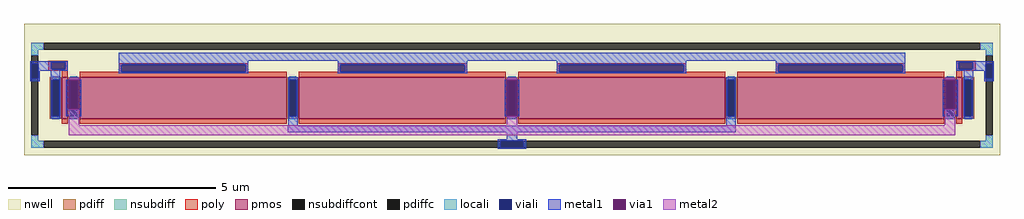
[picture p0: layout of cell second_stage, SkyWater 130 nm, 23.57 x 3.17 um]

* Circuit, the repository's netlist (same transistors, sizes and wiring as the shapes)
* NGSPICE file created from second_stage.ext - technology: sky130A

.subckt sky130_fd_pr__pfet_01v8_9QGYG3 a_2087_n100# a_n29_n100# a_n1087_n100# w_n2181_n162#
+ a_n2145_n100# a_29_n126# a_n1029_n126# a_1029_n100# a_n2087_n126# a_1087_n126#
X0 a_2087_n100# a_1087_n126# a_1029_n100# w_n2181_n162# sky130_fd_pr__pfet_01v8 ad=0.29 pd=2.58 as=0.145 ps=1.29 w=1 l=5
X1 a_1029_n100# a_29_n126# a_n29_n100# w_n2181_n162# sky130_fd_pr__pfet_01v8 ad=0.145 pd=1.29 as=0.145 ps=1.29 w=1 l=5
X2 a_n1087_n100# a_n2087_n126# a_n2145_n100# w_n2181_n162# sky130_fd_pr__pfet_01v8 ad=0.145 pd=1.29 as=0.29 ps=2.58 w=1 l=5
X3 a_n29_n100# a_n1029_n126# a_n1087_n100# w_n2181_n162# sky130_fd_pr__pfet_01v8 ad=0.145 pd=1.29 as=0.145 ps=1.29 w=1 l=5
.ends

.subckt sky130_fd_pr__pfet_01v8_2XU96L a_n73_n100# w_n109_n162# a_15_n100# a_n15_n126#
X0 a_15_n100# a_n15_n126# a_n73_n100# w_n109_n162# sky130_fd_pr__pfet_01v8 ad=0.29 pd=2.58 as=0.29 ps=2.58 w=1 l=0.15
.ends

.subckt second_stage
Xsky130_fd_pr__pfet_01v8_9QGYG3_0 m1_885_203# m1_885_203# w_680_15# w_680_15# m1_885_203#
+ a_3249_408# a_2191_408# w_680_15# a_1137_417# a_4307_408# sky130_fd_pr__pfet_01v8_9QGYG3
Xsky130_fd_pr__pfet_01v8_2XU96L_1 w_680_15# w_680_15# m1_885_203# a_798_422# sky130_fd_pr__pfet_01v8_2XU96L
Xsky130_fd_pr__pfet_01v8_2XU96L_0 m1_885_203# w_680_15# w_680_15# a_5182_391# sky130_fd_pr__pfet_01v8_2XU96L
.ends

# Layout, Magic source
magic
tech sky130A
magscale 1 2
<< nwell >>
rect 680 15 5394 648
<< nsubdiff >>
rect 716 523 776 557
rect 5298 523 5358 557
rect 716 497 750 523
rect 5324 497 5358 523
rect 716 85 750 111
rect 5324 85 5358 111
rect 716 51 776 85
rect 5298 51 5358 85
<< nsubdiffcont >>
rect 776 523 5298 557
rect 716 111 750 497
rect 5324 111 5358 497
rect 776 51 5298 85
<< poly >>
rect 798 422 892 470
rect 862 411 892 422
rect 1137 417 1763 458
rect 2195 417 2821 458
rect 3253 417 3879 458
rect 4311 417 4937 458
rect 5182 422 5276 470
rect 2191 408 2829 417
rect 3249 408 3887 417
rect 4307 408 4945 417
rect 5182 391 5212 422
<< locali >>
rect 716 523 776 557
rect 5298 523 5358 557
rect 716 497 750 523
rect 5324 497 5358 523
rect 5224 391 5258 395
rect 716 85 750 111
rect 5324 85 5358 111
rect 716 51 776 85
rect 5298 51 5358 85
<< viali >>
rect 716 383 750 457
rect 811 429 879 463
rect 1150 417 1750 451
rect 2208 417 2808 451
rect 3266 417 3866 451
rect 4324 417 4924 451
rect 5195 429 5263 463
rect 5324 383 5358 457
rect 2981 51 3093 85
<< metal1 >>
rect 1138 470 4936 510
rect 710 463 891 469
rect 710 457 811 463
rect 710 383 716 457
rect 750 429 811 457
rect 879 429 891 463
rect 750 423 891 429
rect 1138 451 1762 470
rect 750 383 756 423
rect 810 391 856 423
rect 1138 417 1150 451
rect 1750 417 1762 451
rect 1138 411 1762 417
rect 2196 451 2820 470
rect 2196 417 2208 451
rect 2808 417 2820 451
rect 2196 411 2820 417
rect 3254 451 3878 470
rect 3254 417 3266 451
rect 3866 417 3878 451
rect 3254 411 3878 417
rect 4312 451 4936 470
rect 4312 417 4324 451
rect 4924 417 4936 451
rect 5183 463 5364 469
rect 5183 429 5195 463
rect 5263 457 5364 463
rect 5263 429 5324 457
rect 5183 423 5324 429
rect 4312 411 4936 417
rect 5218 391 5264 423
rect 710 371 756 383
rect 5318 383 5324 423
rect 5358 383 5364 457
rect 885 237 895 379
rect 947 237 957 379
rect 885 203 957 237
rect 3001 203 3011 379
rect 3063 203 3073 379
rect 5117 237 5127 379
rect 5179 237 5189 379
rect 5318 371 5364 383
rect 5117 203 5189 237
rect 1956 157 2002 195
rect 4072 157 4118 191
rect 1955 125 4118 157
rect 3011 91 3063 125
rect 2969 85 3105 91
rect 2969 51 2981 85
rect 3093 51 3105 85
rect 2969 45 3105 51
<< via1 >>
rect 895 237 947 379
rect 3011 203 3063 379
rect 5127 237 5179 379
<< metal2 >>
rect 895 379 947 389
rect 895 159 947 237
rect 3011 379 3063 389
rect 3011 159 3063 203
rect 5127 379 5179 389
rect 5127 159 5179 237
rect 895 111 5179 159
use sky130_fd_pr__pfet_01v8_2XU96L  sky130_fd_pr__pfet_01v8_2XU96L_0
transform 1 0 5197 0 1 291
box -109 -162 109 162
use sky130_fd_pr__pfet_01v8_2XU96L  sky130_fd_pr__pfet_01v8_2XU96L_1
transform 1 0 877 0 1 291
box -109 -162 109 162
use sky130_fd_pr__pfet_01v8_9QGYG3  sky130_fd_pr__pfet_01v8_9QGYG3_0
transform 1 0 3037 0 1 291
box -2181 -162 2181 162
<< end >>

# cell sky130_fd_pr__pfet_01v8_2XU96L: kit device sky130_fd_pr__pfet_01v8, w 1 l 0.15 m 1 nf 1 diffcov 100 polycov 100 guard 0 glc 1 grc 1 gtc 1 gbc 1 tbcov 100 rlcov 100 topc 0 botc 0 poverlap 0 doverlap 0 lmin 0.15 wmin 0.42 compatible {sky130_fd_pr__pfet_01v8 sky130_fd_pr__pfet_01v8_lvt sky130_fd_pr__pfet_01v8_hvt sky130_fd_pr__pfet_g5v0d10v5} full_metal 1 viasrc 100 viadrn 100 viagate 100 viagb 0 viagr 0 viagl 0 viagt 0

# cell sky130_fd_pr__pfet_01v8_9QGYG3: kit device sky130_fd_pr__pfet_01v8, w 1 l 5 m 1 nf 4 diffcov 100 polycov 100 guard 0 glc 1 grc 1 gtc 1 gbc 1 tbcov 100 rlcov 100 topc 0 botc 0 poverlap 0 doverlap 1 lmin 0.15 wmin 0.42 compatible {sky130_fd_pr__pfet_01v8 sky130_fd_pr__pfet_01v8_lvt sky130_fd_pr__pfet_01v8_hvt sky130_fd_pr__pfet_g5v0d10v5} full_metal 1 viasrc 100 viadrn 100 viagate 100 viagb 0 viagr 0 viagl 0 viagt 0
